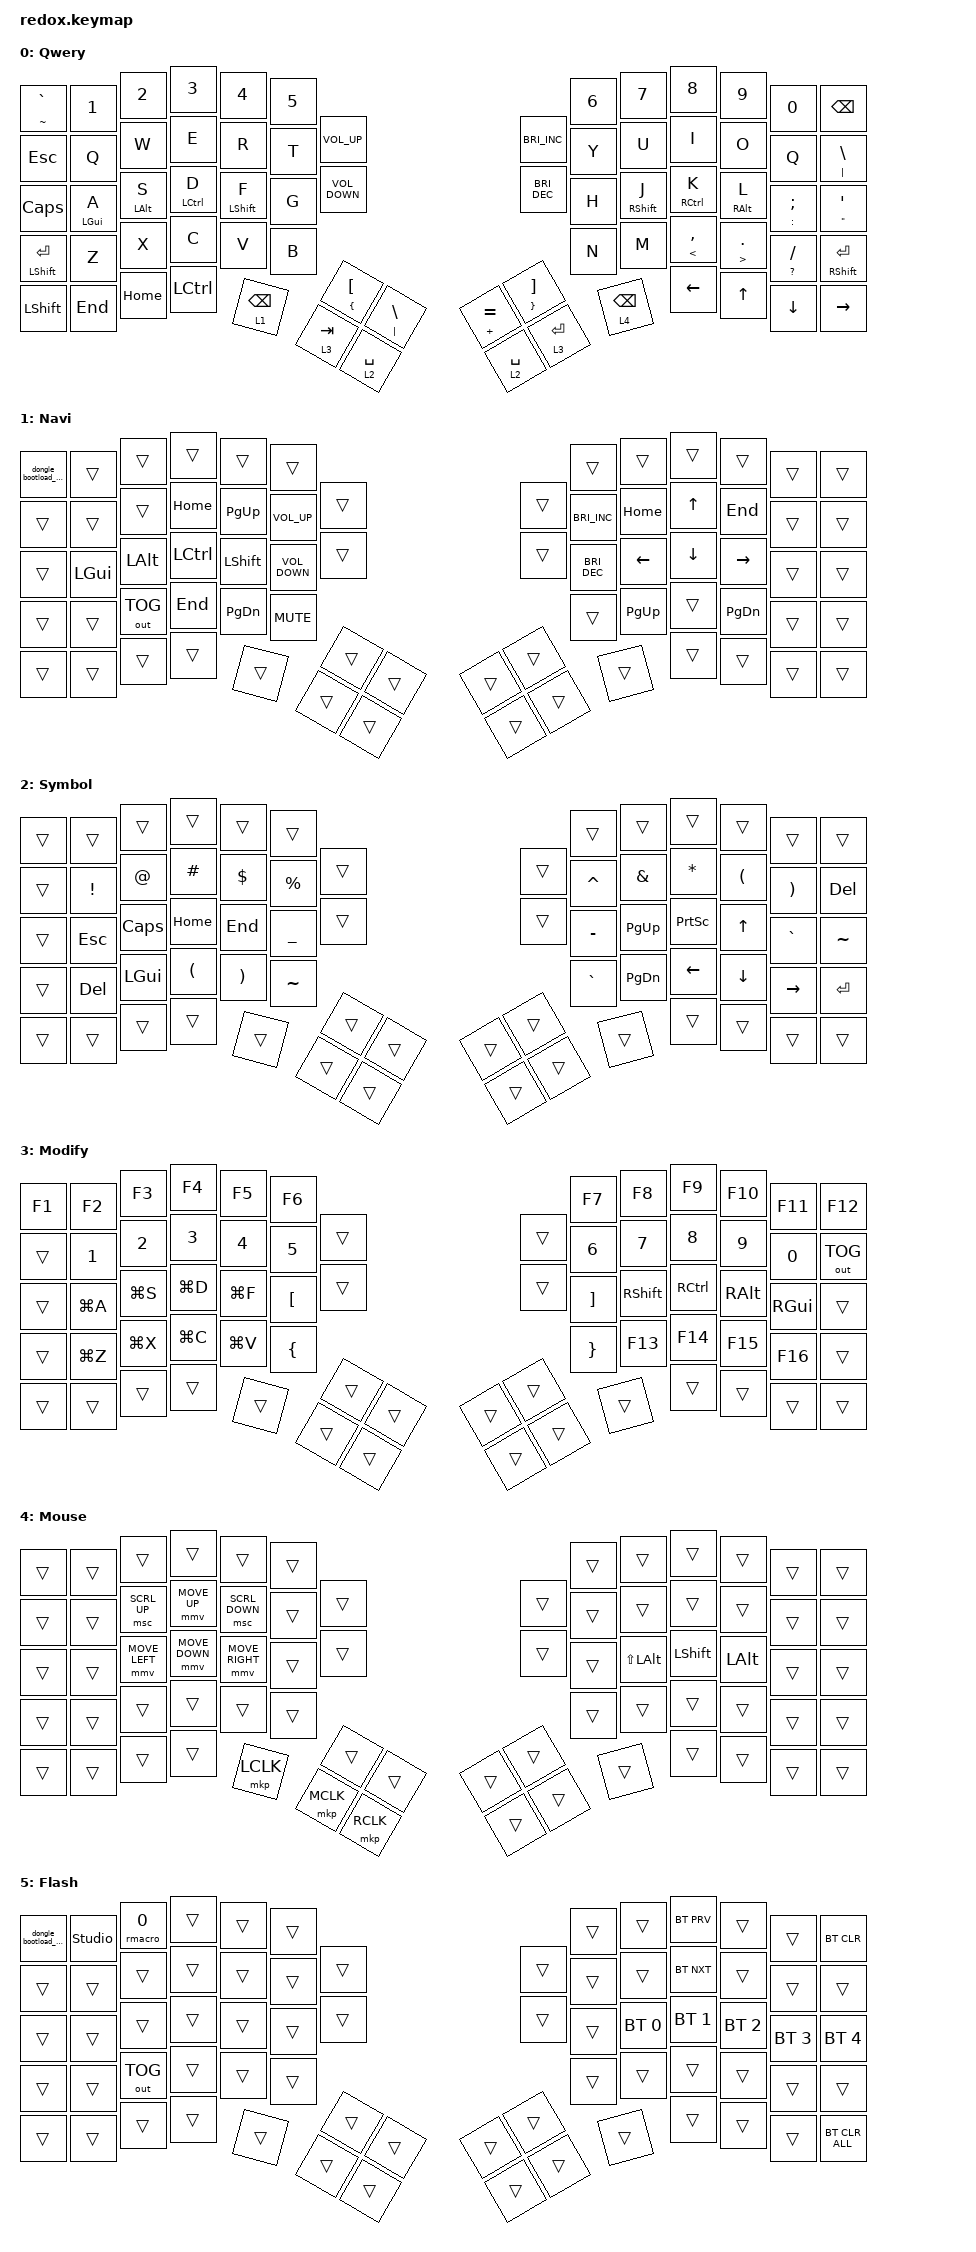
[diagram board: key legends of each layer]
/*
 * Copyright (c) 2021 The ZMK Contributors
 *
 * SPDX-License-Identifier: MIT
 */

#include <input/processors.dtsi>
#include <behaviors.dtsi>
#include <behaviors/runtime_macro.dtsi>
#include <dt-bindings/zmk/bt.h>
#include <dt-bindings/zmk/keys.h>
#include <dt-bindings/zmk/mouse.h>
#include <dt-bindings/zmk/outputs.h>

/ {
    combos {
        compatible = "zmk,combos";

        combo_esc {
            timeout-ms = <50>;
            key-positions = <13 14>;
            bindings = <&kp ESC>;
        };

        left_bkt {
            bindings = <&kp LEFT_BRACKET>;
            key-positions = <15 16>;
            timeout-ms = <50>;
        };

        right_bkt {
            bindings = <&kp RIGHT_BRACKET>;
            key-positions = <21 22>;
            timeout-ms = <50>;
        };

        left_par {
            bindings = <&kp LEFT_PARENTHESIS>;
            key-positions = <29 30>;
            timeout-ms = <50>;
        };

        right_par {
            bindings = <&kp RIGHT_PARENTHESIS>;
            key-positions = <35 36>;
            timeout-ms = <50>;
        };

        left_brace {
            bindings = <&kp LEFT_BRACE>;
            key-positions = <43 44>;
            timeout-ms = <50>;
        };

        right_brace {
            bindings = <&kp RIGHT_BRACE>;
            key-positions = <51 52>;
            timeout-ms = <50>;
        };

        bac {
            bindings = <&kp BACKSLASH>;
            key-positions = <16 21>;
            timeout-ms = <50>;
        };

        pipe {
            bindings = <&kp PIPE>;
            key-positions = <30 35>;
            timeout-ms = <50>;
        };

        plus {
            bindings = <&kp PLUS>;
            key-positions = <28 29>;
        };

        equal {
            bindings = <&kp EQUAL>;
            key-positions = <37 36>;
        };
    };

    macros {
        dongle_bootload_macro: bootload_macro {
            compatible = "zmk,behavior-macro";
            #binding-cells = <0>;
            bindings = <&bootloader>;
            label = "BOOTLOAD_MACRO";
        };
    };

    behaviors {
        hm: homerow_mods {
            compatible = "zmk,behavior-hold-tap";
            label = "HOMEROW_MODS";
            bindings = <&kp>, <&kp>;

            #binding-cells = <2>;
            tapping-term-ms = <200>;
            quick-tap-ms = <180>;
            flavor = "tap-preferred";
        };

        ltq: ltq {
            compatible = "zmk,behavior-hold-tap";
            label = "LTQ";
            bindings = <&mo>, <&kp>;

            #binding-cells = <2>;
            tapping-term-ms = <200>;
            quick-tap-ms = <180>;
        };

        as: auto_shift {
            compatible = "zmk,behavior-hold-tap";
            label = "AUTO_SHIFT";
            bindings = <&kp>, <&kp>;

            #binding-cells = <2>;
            tapping-term-ms = <135>;
            quick-tap-ms = <0>;
        };
    };

    keymap {
        compatible = "zmk,keymap";

        Qwery {
            // --------------------------------------------------------------------------------------------------------------------------------
            // | ESC   |  1  |  2  |   3   |  4  |  5  |                   ---                |  6    |  7    |  8    |  9   | 0  |    BKSP   |
            // | TAB   |  Q  |  W  |   E   |  R  |  T  |   (   |           ---        |  )    |  Y    |  U    |  I    |  O   | P  |     -     |
            // | CTRL  |  A  |  S  |   D   |  F  |  G  |   [   |           ---        |  ]    |  H    |  J    |  K    |  L   | ;  |     '     |
            // | SHIFT |  Z  |  X  |   C   |  V  |  B  | PG_UP | PG_DOWN | --- | HOME | END   |  N    |  M    |  ,    |  .   | /  | SHFT(RET) |
            // | CRTL  | ALT | GUI | LOWER |    GUI    | LOWER | SPACE   | --- | DEL  | SPACE |     RAISE     | LEFT  | DOWN | UP |   RIGHT   |

            bindings = <
&as TILDE GRAVE       &kp N1          &kp N2          &kp N3              &kp N4            &kp N5                                                                                                            &kp N6                    &kp N7             &kp N8               &kp N9                   &kp N0               &kp BSPC
&kp ESC               &kp Q           &kp W           &kp E               &kp R             &kp T             &kp C_VOLUME_UP                                                  &kp C_BRIGHTNESS_INC           &kp Y                     &kp U              &kp I                &kp O                    &kp Q                &as PIPE BACKSLASH
&kp CAPSLOCK          &hm LEFT_GUI A  &hm LEFT_ALT S  &hm LEFT_CONTROL D  &hm LEFT_SHIFT F  &kp G             &kp C_VOLUME_DOWN                                                &kp C_BRIGHTNESS_DEC           &kp H                     &hm RIGHT_SHIFT J  &hm RIGHT_CONTROL K  &hm RIGHT_ALT L          &as COLON SEMICOLON  &as DOUBLE_QUOTES SQT
&mt LEFT_SHIFT ENTER  &kp Z           &kp X           &kp C               &kp V             &kp B             &as LEFT_BRACE LEFT_BRACKET  &as PIPE BACKSLASH  &as PLUS EQUAL  &as RIGHT_BRACE RIGHT_BRACKET  &kp N                     &kp M              &as LESS_THAN COMMA  &as GREATER_THAN PERIOD  &as QUESTION SLASH   &mt RSHFT RET
&kp LEFT_SHIFT        &kp END         &kp HOME        &kp LEFT_CONTROL                      &ltq 1 BACKSPACE  &ltq 3 TAB                   &ltq 2 SPACE        &ltq 2 SPACE    &ltq 3 ENTER                           &ltq 4 BACKSPACE                     &kp LEFT_ARROW       &kp UP_ARROW             &kp DOWN_ARROW       &kp RIGHT_ARROW
            >;

            label = "Qwery";
            display-name = "Qwery";
        };

        Navi {
            // --------------------------------------------------------------------------------------------------------------------------
            // | ESC   |  1  |  2  |   3   |   4   |  5  |                   ---              |  6  |  7  |   8  |  9   |  0  |  DEL  |
            // | ESC   |  1  |  2  |   3   |   4   |  5  |   (   |           ---        |  )  |  6  |  7  |   8  |  9   |  0  |  DEL  |
            // | CTRL  |  -  |  =  |   [   |   ]   |  \  |   [   |           ---        |  ]  |  *  |  4  |   5  |  6   |  +  |   -   |
            // | SHIFT | ESC | GUI | COPY  | PASTE |     | PG_UP | PG_DOWN | --- | HOME | END |  \  |  1  |   2  |  3   | RET |  RET  |
            // | CRTL  | ALT | GUI | LOWER |     GUI     | LOWER | SPACE   | --- | DEL  |  0  |    RAISE  | LEFT | DOWN | UP  | RIGHT |

            bindings = <
&dongle_bootload_macro  &trans        &trans        &trans            &trans          &trans                                             &trans                        &trans          &trans          &trans           &trans  &trans
&trans                  &trans        &trans        &kp HOME          &kp PAGE_UP     &kp C_VOLUME_UP    &trans                  &trans  &kp C_BRIGHTNESS_INC          &kp HOME        &kp UP_ARROW    &kp END          &trans  &trans
&trans                  &kp LEFT_GUI  &kp LEFT_ALT  &kp LEFT_CONTROL  &kp LEFT_SHIFT  &kp C_VOLUME_DOWN  &trans                  &trans  &kp C_BRIGHTNESS_DEC          &kp LEFT_ARROW  &kp DOWN_ARROW  &kp RIGHT_ARROW  &trans  &trans
&trans                  &trans        &out OUT_TOG  &kp END           &kp PAGE_DOWN   &kp K_MUTE         &trans  &trans  &trans  &trans  &trans                        &kp PAGE_UP     &trans          &kp PAGE_DOWN    &trans  &trans
&trans                  &trans        &trans        &trans                            &trans             &trans  &trans  &trans  &trans                        &trans                  &trans          &trans           &trans  &trans
            >;

            label = "Navi";
            display-name = "Navi";
        };

        Symbol {
            // ----------------------------------------------------------------------------------------------------------------------------
            // | ESC   |  1  |  2  |   3   |  4  |  5  |                   ---                |  6   |  7   |  8   |  9   |  0    |  DEL  |
            // | ESC   |  !  |  @  |   #   |  $  |  %  |   (   |           ---        |  )    |  ^   |  &   |  *   |  (   |  )    |  DEL  |
            // | CTRL  |  _  |  +  |   {   |  }  | "|" |   [   |           ---        |  ]    | HOME | PGUP | PRSC | UP   |  `    |   ~   |
            // | SHIFT | ESC | GUI |   (   |  )  |     | PG_UP | PG_DOWN | --- | HOME | END   | END  | PGDN | LEFT | DOWN | RIGHT |  RET  |
            // | CRTL  | ALT | GUI | LOWER |    GUI    | LOWER | SPACE   | --- | DEL  | SPACE |    RAISE    | LEFT | DOWN | UP    | RIGHT |

            bindings = <
&trans  &trans      &trans    &trans    &trans    &trans                                          &trans             &trans     &trans     &trans    &trans     &trans
&trans  &kp EXCL    &kp AT    &kp HASH  &kp DLLR  &kp PRCNT       &trans                  &trans  &kp CARET          &kp AMPS   &kp ASTRK  &kp LPAR  &kp RPAR   &kp DEL
&trans  &kp ESCAPE  &kp CAPS  &kp HOME  &kp END   &kp UNDERSCORE  &trans                  &trans  &kp MINUS          &kp PG_UP  &kp PSCRN  &kp UP    &kp GRAVE  &kp TILDE
&trans  &kp DELETE  &kp LGUI  &kp LPAR  &kp RPAR  &kp TILDE       &trans  &trans  &trans  &trans  &kp GRAVE          &kp PG_DN  &kp LEFT   &kp DOWN  &kp RIGHT  &kp RET
&trans  &trans      &trans    &trans              &trans          &trans  &trans  &trans  &trans             &trans             &trans     &trans    &trans     &trans
            >;

            label = "Symbol";
            display-name = "Symbol";
        };

        Modify {
            // -----------------------------------------------------------------------------------------
            // |  F1   |  F2   |    F3    |    F4     |     F5     | F6 |                   ---                | F7  | F8  |  F9  |  F10 | F11 | F12        |
            // | TAB   |       |          |           |            |    | BOOTL |           ---        |  )    | BT1 | BT2 |  BT3 |  BT4 | BT5 | OUTPUT TGL |
            // | CTRL  | MUTE  |  Vol Dn  |  Vol Up   | Play/Pause |    | RESET |           ---        |  ]    | F1  | F2  |  F3  |  F4  | F5  | F6         |
            // | SHIFT | PSCRN |  PSCRN   |   CAPS    |            |    | PG_UP | PG_DOWN | --- | HOME | END   | F7  | F8  |  F9  |  F10 | F11 | F12        |
            // | CRTL  | ALT   |  GUI     |   LOWER   |      GUI        | LOWER | SPACE   | --- | DEL  | SPACE |   RAISE   | LEFT | DOWN | UP  |   RIGHT    |

            bindings = <
&kp F1  &kp F2     &kp F3     &kp F4     &kp F5     &kp F6                                            &kp F7                     &kp F8           &kp F9             &kp F10        &kp F11        &kp F12
&trans  &kp N1     &kp N2     &kp N3     &kp N4     &kp N5            &trans                  &trans  &kp N6                     &kp N7           &kp N8             &kp NUMBER_9   &kp N0         &out OUT_TOG
&trans  &kp LG(A)  &kp LG(S)  &kp LG(D)  &kp LG(F)  &kp LEFT_BRACKET  &trans                  &trans  &kp RIGHT_BRACKET          &kp RIGHT_SHIFT  &kp RIGHT_CONTROL  &kp RIGHT_ALT  &kp RIGHT_GUI  &trans
&trans  &kp LG(Z)  &kp LG(X)  &kp LG(C)  &kp LG(V)  &kp LEFT_BRACE    &trans  &trans  &trans  &trans  &kp RIGHT_BRACE            &kp F13          &kp F14            &kp F15        &kp F16        &trans
&trans  &trans     &trans     &trans                &trans            &trans  &trans  &trans  &trans                     &trans                   &trans             &trans         &trans         &trans
            >;

            label = "Modify";
            display-name = "Modify";
        };

        Mouse {
            bindings = <
&trans  &trans  &trans          &trans          &trans           &trans                                           &trans          &trans            &trans          &trans        &trans  &trans
&trans  &trans  &msc SCRL_UP    &mmv MOVE_UP    &msc SCRL_DOWN   &trans     &trans                        &trans  &trans          &trans            &trans          &trans        &trans  &trans
&trans  &trans  &mmv MOVE_LEFT  &mmv MOVE_DOWN  &mmv MOVE_RIGHT  &trans     &trans                        &trans  &trans          &kp LS(LEFT_ALT)  &kp LEFT_SHIFT  &kp LEFT_ALT  &trans  &trans
&trans  &trans  &trans          &trans          &trans           &trans     &trans     &trans     &trans  &trans  &trans          &trans            &trans          &trans        &trans  &trans
&trans  &trans  &trans          &trans                           &mkp LCLK  &mkp MCLK  &mkp RCLK  &trans  &trans          &trans                    &trans          &trans        &trans  &trans
            >;

            label = "Mouse";
            display-name = "Mouse";
        };

        Flash {
            bindings = <
&dongle_bootload_macro  &studio_unlock  &rmacro 0        &trans  &trans  &trans                                  &trans          &trans        &bt BT_PRV    &trans        &trans        &bt BT_CLR
&trans                  &trans  &trans        &trans  &trans  &trans  &trans                  &trans  &trans          &trans        &bt BT_NXT    &trans        &trans        &trans
&trans                  &trans  &trans        &trans  &trans  &trans  &trans                  &trans  &trans          &bt BT_SEL 0  &bt BT_SEL 1  &bt BT_SEL 2  &bt BT_SEL 3  &bt BT_SEL 4
&trans                  &trans  &out OUT_TOG  &trans  &trans  &trans  &trans  &trans  &trans  &trans  &trans          &trans        &trans        &trans        &trans        &trans
&trans                  &trans  &trans        &trans          &trans  &trans  &trans  &trans  &trans          &trans                &trans        &trans        &trans        &bt BT_CLR_ALL
            >;

            label = "Flash";
            display-name = "Flash";
        };
    };

    conditional_layers {
        compatible = "zmk,conditional-layers";

        to_flash {
            if-layers = <2 3>;
            then-layer = <5>;
        };
    };
};
